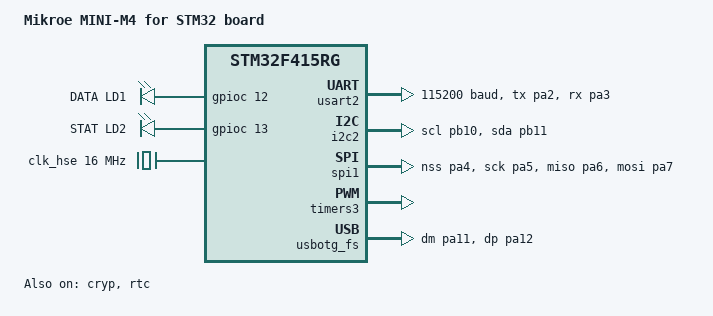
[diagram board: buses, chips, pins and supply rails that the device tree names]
/*
 * Copyright (c) 2019, Kwon Tae-young <tykwon@m2i.co.kr>
 *
 * SPDX-License-Identifier: Apache-2.0
 */

/dts-v1/;
#include <st/f4/stm32f415Rg.dtsi>
#include <st/f4/stm32f415rgtx-pinctrl.dtsi>

/ {
	model = "Mikroe MINI-M4 for STM32 board";
	compatible = "mikroe,mini-m4-for-stm32";

	chosen {
		zephyr,console = &usart2;
		zephyr,shell-uart = &usart2;
		zephyr,sram = &sram0;
		zephyr,flash = &flash0;
		zephyr,ccm = &ccm0;
	};

	leds {
		compatible = "gpio-leds";
		orange_led_1: led_1 {
			gpios = <&gpioc 12 GPIO_ACTIVE_HIGH>;
			label = "DATA LD1";
		};
		red_led_2: led_2 {
			gpios = <&gpioc 13 GPIO_ACTIVE_HIGH>;
			label = "STAT LD2";
		};
	};

	aliases {
		led0 = &orange_led_1;
		led1 = &red_led_2;
	};
};

&clk_lsi {
	status = "okay";
};

&clk_hse {
	clock-frequency = <DT_FREQ_M(16)>;
	status = "okay";
};

&pll {
	div-m = <16>;
	mul-n = <336>;
	div-p = <2>;
	div-q = <7>;
	clocks = <&clk_hse>;
	status = "okay";
};

&rcc {
	clocks = <&pll>;
	clock-frequency = <DT_FREQ_M(168)>;
	ahb-prescaler = <1>;
	apb1-prescaler = <4>;
	apb2-prescaler = <2>;
};

&usart2 {
	pinctrl-0 = <&usart2_tx_pa2 &usart2_rx_pa3>;
	pinctrl-names = "default";
	current-speed = <115200>;
	status = "okay";
};

&i2c2 {
	pinctrl-0 = <&i2c2_scl_pb10 &i2c2_sda_pb11>;
	pinctrl-names = "default";
	status = "okay";
};

&spi1 {
	pinctrl-0 = <&spi1_nss_pa4 &spi1_sck_pa5
		     &spi1_miso_pa6 &spi1_mosi_pa7>;
	pinctrl-names = "default";
	status = "okay";
};

&timers3 {
	status = "okay";

	pwm3: pwm {
		status = "okay";
		pinctrl-0 = <&tim3_ch1_pb4>;
		pinctrl-names = "default";
	};
};

zephyr_udc0: &usbotg_fs {
	pinctrl-0 = <&usb_otg_fs_dm_pa11 &usb_otg_fs_dp_pa12>;
	pinctrl-names = "default";
	status = "okay";
};

&cryp {
	status = "okay";
};

&rtc {
	clocks = <&rcc STM32_CLOCK_BUS_APB1 0x10000000>,
		 <&rcc STM32_SRC_LSI RTC_SEL(2)>;
	status = "okay";
};
